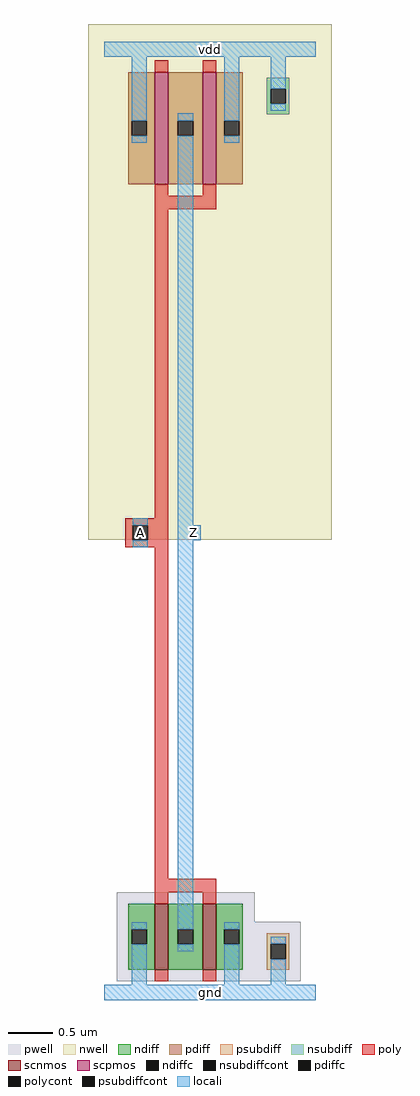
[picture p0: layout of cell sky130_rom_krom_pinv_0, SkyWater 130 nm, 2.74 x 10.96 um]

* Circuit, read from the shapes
.subckt sky130_rom_krom_pinv_0 A Z gnd vdd
XM1 Z A gnd gnd sky130_fd_pr__nfet_01v8 w=0.74 l=0.15 m=2
XM2 Z A vdd vdd sky130_fd_pr__pfet_01v8 w=1.26 l=0.15 m=2
.ends

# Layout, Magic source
magic
tech sky130A
magscale 1 2
<< nwell >>
rect -36 1017 512 2176
<< pwell >>
rect 28 159 338 225
rect 28 25 442 159
<< scnmos >>
rect 114 51 144 199
rect 222 51 252 199
<< scpmos >>
rect 114 1816 144 2068
rect 222 1816 252 2068
<< ndiff >>
rect 54 142 114 199
rect 54 108 62 142
rect 96 108 114 142
rect 54 51 114 108
rect 144 142 222 199
rect 144 108 166 142
rect 200 108 222 142
rect 144 51 222 108
rect 252 142 312 199
rect 252 108 270 142
rect 304 108 312 142
rect 252 51 312 108
<< pdiff >>
rect 54 1959 114 2068
rect 54 1925 62 1959
rect 96 1925 114 1959
rect 54 1816 114 1925
rect 144 1959 222 2068
rect 144 1925 166 1959
rect 200 1925 222 1959
rect 144 1816 222 1925
rect 252 1959 312 2068
rect 252 1925 270 1959
rect 304 1925 312 1959
rect 252 1816 312 1925
<< ndiffc >>
rect 62 108 96 142
rect 166 108 200 142
rect 270 108 304 142
<< pdiffc >>
rect 62 1925 96 1959
rect 166 1925 200 1959
rect 270 1925 304 1959
<< psubdiff >>
rect 366 109 416 133
rect 366 75 374 109
rect 408 75 416 109
rect 366 51 416 75
<< nsubdiff >>
rect 366 2031 416 2055
rect 366 1997 374 2031
rect 408 1997 416 2031
rect 366 1973 416 1997
<< psubdiffcont >>
rect 374 75 408 109
<< nsubdiffcont >>
rect 374 1997 408 2031
<< poly >>
rect 114 2068 144 2094
rect 222 2068 252 2094
rect 114 1790 144 1816
rect 222 1790 252 1816
rect 114 1760 252 1790
rect 114 1066 144 1760
rect 48 1050 144 1066
rect 48 1016 64 1050
rect 98 1016 144 1050
rect 48 1000 144 1016
rect 114 255 144 1000
rect 114 225 252 255
rect 114 199 144 225
rect 222 199 252 225
rect 114 25 144 51
rect 222 25 252 51
<< polycont >>
rect 64 1016 98 1050
<< locali >>
rect 0 2102 476 2136
rect 62 1959 96 2102
rect 62 1909 96 1925
rect 166 1959 200 1975
rect 64 1050 98 1066
rect 64 1000 98 1016
rect 166 1050 200 1925
rect 270 1959 304 2102
rect 374 2031 408 2102
rect 374 1981 408 1997
rect 270 1909 304 1925
rect 166 1016 217 1050
rect 62 142 96 158
rect 62 17 96 108
rect 166 142 200 1016
rect 166 92 200 108
rect 270 142 304 158
rect 270 17 304 108
rect 374 109 408 125
rect 374 17 408 75
rect 0 -17 476 17
<< labels >>
rlabel locali s 81 1033 81 1033 4 A
port 1 nsew
rlabel locali s 200 1033 200 1033 4 Z
port 2 nsew
rlabel locali s 238 0 238 0 4 gnd
port 3 nsew
rlabel locali s 238 2119 238 2119 4 vdd
port 4 nsew
<< properties >>
string FIXED_BBOX 0 0 476 1858
<< end >>
